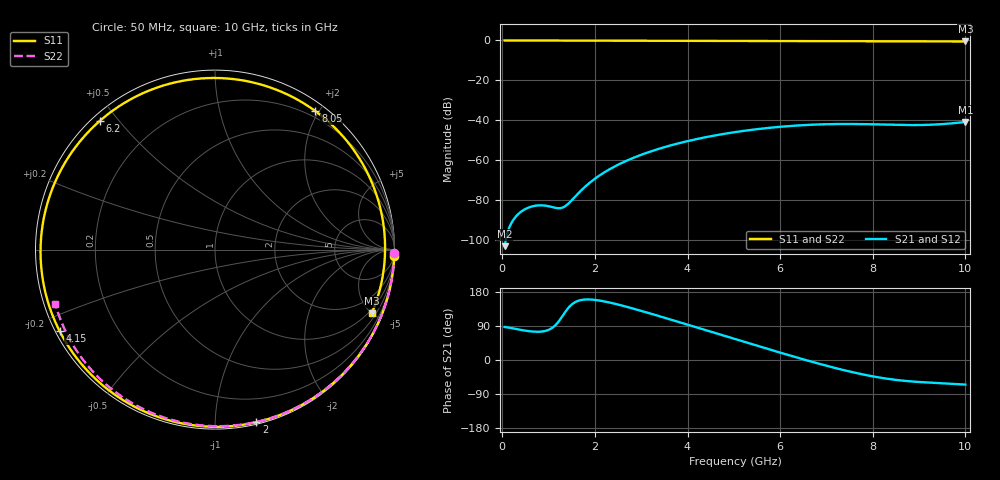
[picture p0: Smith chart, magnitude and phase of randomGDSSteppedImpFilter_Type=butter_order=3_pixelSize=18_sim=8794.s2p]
! freq	dB(S11)	phase(S11)	dB(S12)	phase(S12)
!  dB(S21)	phase(S21)	dB(S22)	phase(S22)
!S-par simulation data
#  GHz  S  DB  R 50
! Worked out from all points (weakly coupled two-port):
!   200 points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, 50 MHz to 10 GHz, reference 50 ohm
!   highest |S21| = -40.80 dB at 10 GHz (marker M1); lowest = -103.0 dB at 50 MHz (marker M2)
!   lowest |S11| = -0.5 dB at 10 GHz (marker M3), VSWR 33.91, Z = 39.3 - j250 ohm
!   |S11| at or under -10 dB: nowhere
!   |S22| runs from -0.5 to 0.0 dB; largest |S21 - S12| = 0
!   S11 on the Smith chart (normalised r, x): 50 MHz: 1, -57; 2 GHz: 0.01, -1.27; 4.15 GHz: 0.01, -0.25; 6.2 GHz: 0.02, +0.45; 8.05 GHz: 0.12, +1.96; 10 GHz: 0.79, -5.00
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0.05  -0.00 -2.0  -102.99 87.2  -102.99 87.2  -0.00 -0.9
0.75  -0.03 -29.4  -82.63 74.5  -82.63 74.5  -0.02 -13.9
1.5  -0.07 -58.1  -79.98 146.5  -79.98 146.5  -0.03 -27.6
1.75  -0.08 -67.4  -74.03 159.2  -74.03 159.2  -0.04 -32.1
2  -0.10 -76.6  -69.22 158.6  -69.22 158.6  -0.05 -36.6
2.3  -0.11 -87.4  -64.71 152.1  -64.71 152.1  -0.05 -41.9
2.7  -0.13 -101.7  -60.05 139.9  -60.05 139.9  -0.06 -48.9
3.4  -0.16 -126.3  -54.11 115.3  -54.11 115.3  -0.08 -60.9
4.15  -0.20 -152.4  -49.61 87.7  -49.61 87.7  -0.10 -73.3
4.6  -0.23 -168.2  -47.52 71.0  -47.52 71.0  -0.12 -80.6
5.05  -0.26 175.6  -45.80 54.3  -45.80 54.3  -0.14 -87.7
5.6  -0.29 155.1  -44.15 34.0  -44.15 34.0  -0.16 -96.2
6.2  -0.33 131.8  -42.85 12.3  -42.85 12.3  -0.19 -105.3
6.7  -0.36 111.4  -42.17 -5.1  -42.17 -5.1  -0.22 -112.8
7.35  -0.39 84.0  -41.82 -26.0  -41.82 -26.0  -0.27 -122.3
7.7  -0.41 69.0  -41.86 -35.9  -41.86 -35.9  -0.29 -127.4
8.05  -0.42 54.0  -42.01 -44.3  -42.01 -44.3  -0.32 -132.5
8.35  -0.43 41.3  -42.19 -50.1  -42.19 -50.1  -0.35 -136.8
8.75  -0.44 24.8  -42.36 -55.7  -42.36 -55.7  -0.39 -142.6
9.15  -0.46 8.9  -42.28 -59.1  -42.28 -59.1  -0.43 -148.5
9.55  -0.48 -6.2  -41.80 -61.5  -41.80 -61.5  -0.48 -154.4
10  -0.51 -22.1  -40.80 -64.9  -40.80 -64.9  -0.54 -161.1
